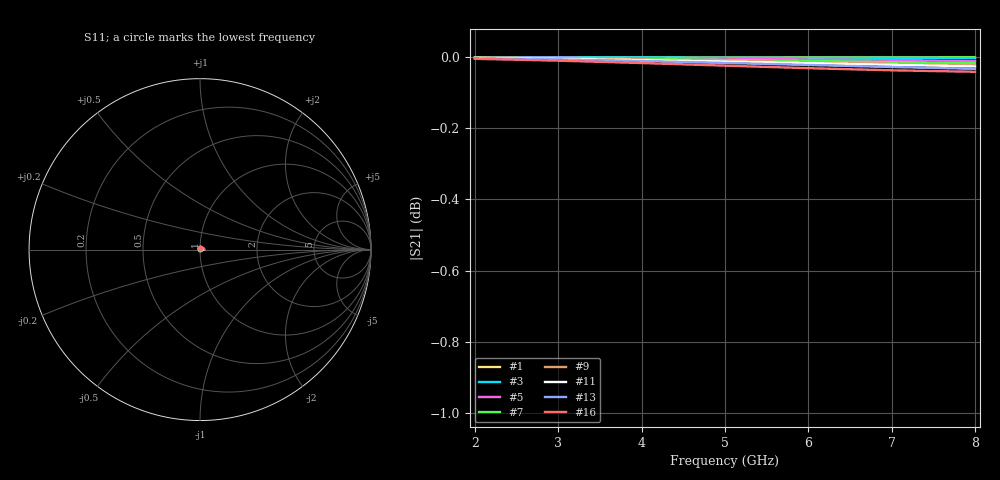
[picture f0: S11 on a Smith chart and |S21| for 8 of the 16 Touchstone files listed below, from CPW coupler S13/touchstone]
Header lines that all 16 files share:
! Sonnet Data File
! From: emgraph Version : 16.56
! From Project: 190426_coupler_test
! Data is De-embedded
! Data File Written: 05/06/2019 15:59:44
!< HDATE 04/25/2019 10:48:44
!< MDATE 04/25/2019 10:59:35
!< PARAMS
!< END PARAMS
# GHZ S MA R 50.0 !  non standard terminations in data
! TERM 50.00000 0.000000 50.00000 0.000000 63.84000 0.000000
Fixed: tandelta = 0.0, t_aSi = 0.25, W = 10.0
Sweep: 2 GHz to 8 GHz
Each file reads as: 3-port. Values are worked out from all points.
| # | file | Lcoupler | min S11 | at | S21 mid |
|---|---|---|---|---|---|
| 1 | 190426_coupler_test_param02.s3p | 100.0 | -45.5 dB | 2 GHz | 0.0 dB at 5 GHz |
| 2 | 190426_coupler_test_param03-1.s3p | 200.0 | -45.2 dB | 2 GHz | 0.0 dB at 5 GHz |
| 3 | 190426_coupler_test_param05.s3p | 400.0 | -45.0 dB | 2 GHz | 0.0 dB at 5 GHz |
| 4 | 190426_coupler_test_param11.s3p | 1000.0 | -44.2 dB | 2 GHz | 0.0 dB at 5 GHz |
| 5 | 190426_coupler_test_param13-1.s3p | 1200.0 | -44.0 dB | 2 GHz | 0.0 dB at 5 GHz |
| 6 | 190426_coupler_test_param15-1.s3p | 1400.0 | -43.7 dB | 2 GHz | 0.0 dB at 5 GHz |
| 7 | 190426_coupler_test_param17.s3p | 1600.0 | -43.5 dB | 2 GHz | 0.0 dB at 5 GHz |
| 8 | 190426_coupler_test_param18-1.s3p | 1700.0 | -43.4 dB | 2 GHz | 0.0 dB at 5 GHz |
| 9 | 190426_coupler_test_param20.s3p | 1900.0 | -43.2 dB | 2 GHz | 0.0 dB at 5 GHz |
| 10 | 190426_coupler_test_param21.s3p | 2000.0 | -43.1 dB | 2 GHz | 0.0 dB at 5 GHz |
| 11 | 190426_coupler_test_param22.s3p | 2100.0 | -42.9 dB | 2 GHz | 0.0 dB at 5 GHz |
| 12 | 190426_coupler_test_param23.s3p | 2200.0 | -42.8 dB | 2 GHz | 0.0 dB at 5 GHz |
| 13 | 190426_coupler_test_param26.s3p | 2500.0 | -42.5 dB | 2 GHz | 0.0 dB at 5 GHz |
| 14 | 190426_coupler_test_param27.s3p | 2600.0 | -42.4 dB | 2 GHz | 0.0 dB at 5 GHz |
| 15 | 190426_coupler_test_param29-1.s3p | 2800.0 | -42.1 dB | 2 GHz | 0.0 dB at 5 GHz |
| 16 | 190426_coupler_test_param33.s3p | 3200.0 | -41.7 dB | 2 GHz | 0.0 dB at 5 GHz |
